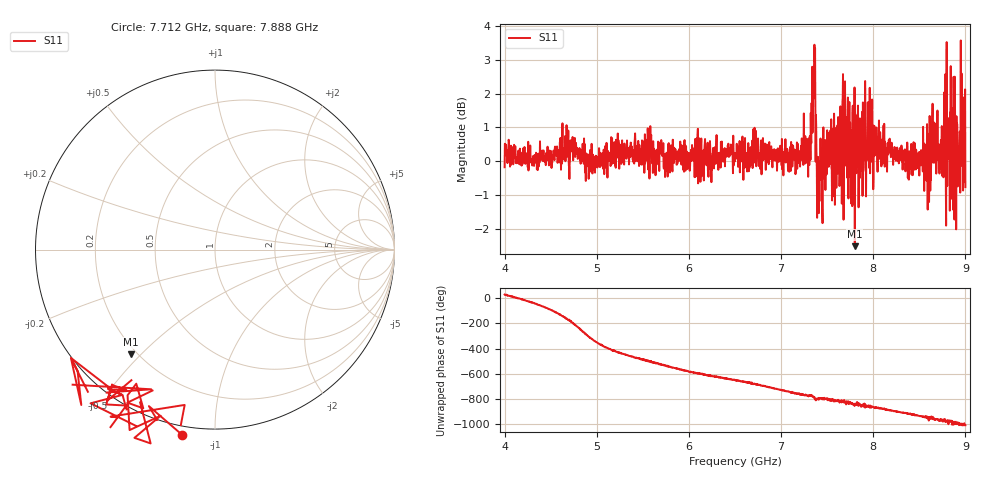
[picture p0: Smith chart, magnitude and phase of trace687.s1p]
! Created with skrf 1.8.0 (http://scikit-rf.org).
# Hz S RI R 50.0
!freq ReS11 ImS11
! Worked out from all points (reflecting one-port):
!   1601 points, 4 GHz to 9 GHz, reference 50 ohm
!   lowest |S11| = -2.5 dB at 7.8 GHz (marker M1), VSWR 6.99, Z = 8.75 - j23.3 ohm
!   phase of S11 starts at 31 deg and turns -1042 deg over the sweep
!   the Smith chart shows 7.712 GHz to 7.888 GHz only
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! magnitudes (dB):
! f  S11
! 4 GHz  -0.2
! 4.625 GHz  0.6
! 4.988 GHz  0.1
! 5.25 GHz  0.4
! 5.875 GHz  -0.1
! 6.5 GHz  0.0
! 7.125 GHz  0.2
! 7.294 GHz  -0.5
! 7.347 GHz  2.0
! 7.362 GHz  3.4
! 7.4 GHz  0.1
! 7.412 GHz  -0.5
! 7.522 GHz  0.6
! 7.578 GHz  0.5
! 7.688 GHz  2.3
! 7.75 GHz  1.1
! 7.784 GHz  -0.7
! 7.8 GHz  -2.5
! 7.962 GHz  2.2
! 8.375 GHz  -0.5
! 8.6 GHz  -0.5
! 8.656 GHz  1.2
! 8.741 GHz  -0.2
! 8.819 GHz  0.1
! 8.856 GHz  0.2
! 8.919 GHz  -0.2
! 8.972 GHz  0.4
! 9 GHz  -0.8
